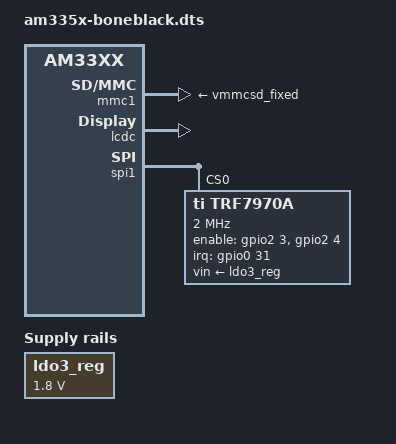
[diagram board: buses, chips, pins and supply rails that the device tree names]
/*
 * Copyright (C) 2012 Texas Instruments Incorporated - http://www.ti.com/
 *
 * This program is free software; you can redistribute it and/or modify
 * it under the terms of the GNU General Public License version 2 as
 * published by the Free Software Foundation.
 */
/dts-v1/;

#include "am33xx.dtsi"
#include "am335x-bone-common.dtsi"

&ldo3_reg {
	regulator-min-microvolt = <1800000>;
	regulator-max-microvolt = <1800000>;
	regulator-always-on;
};

&mmc1 {
	vmmc-supply = <&vmmcsd_fixed>;
};

&mmc2 {
	vmmc-supply = <&vmmcsd_fixed>;
	pinctrl-names = "default";
	pinctrl-0 = <&emmc_pins>;
	bus-width = <8>;
	status = "disabled";
	ti,vcc-aux-disable-is-sleep;
};

&am33xx_pinmux {
	nxp_hdmi_bonelt_pins: nxp_hdmi_bonelt_pins {
		pinctrl-single,pins = <
			0x1b0 0x03      /* xdma_event_intr0, OMAP_MUX_MODE3 | AM33XX_PIN_OUTPUT */
			0xa0 0x08       /* lcd_data0.lcd_data0, OMAP_MUX_MODE0 | AM33XX_PIN_OUTPUT | AM33XX_PULL_DISA */
			0xa4 0x08       /* lcd_data1.lcd_data1, OMAP_MUX_MODE0 | AM33XX_PIN_OUTPUT | AM33XX_PULL_DISA */
			0xa8 0x08       /* lcd_data2.lcd_data2, OMAP_MUX_MODE0 | AM33XX_PIN_OUTPUT | AM33XX_PULL_DISA */
			0xac 0x08       /* lcd_data3.lcd_data3, OMAP_MUX_MODE0 | AM33XX_PIN_OUTPUT | AM33XX_PULL_DISA */
			0xb0 0x08       /* lcd_data4.lcd_data4, OMAP_MUX_MODE0 | AM33XX_PIN_OUTPUT | AM33XX_PULL_DISA */
			0xb4 0x08       /* lcd_data5.lcd_data5, OMAP_MUX_MODE0 | AM33XX_PIN_OUTPUT | AM33XX_PULL_DISA */
			0xb8 0x08       /* lcd_data6.lcd_data6, OMAP_MUX_MODE0 | AM33XX_PIN_OUTPUT | AM33XX_PULL_DISA */
			0xbc 0x08       /* lcd_data7.lcd_data7, OMAP_MUX_MODE0 | AM33XX_PIN_OUTPUT | AM33XX_PULL_DISA */
			0xc0 0x08       /* lcd_data8.lcd_data8, OMAP_MUX_MODE0 | AM33XX_PIN_OUTPUT | AM33XX_PULL_DISA */
			0xc4 0x08       /* lcd_data9.lcd_data9, OMAP_MUX_MODE0 | AM33XX_PIN_OUTPUT | AM33XX_PULL_DISA */
			0xc8 0x08       /* lcd_data10.lcd_data10, OMAP_MUX_MODE0 | AM33XX_PIN_OUTPUT | AM33XX_PULL_DISA */
			0xcc 0x08       /* lcd_data11.lcd_data11, OMAP_MUX_MODE0 | AM33XX_PIN_OUTPUT | AM33XX_PULL_DISA */
			0xd0 0x08       /* lcd_data12.lcd_data12, OMAP_MUX_MODE0 | AM33XX_PIN_OUTPUT | AM33XX_PULL_DISA */
			0xd4 0x08       /* lcd_data13.lcd_data13, OMAP_MUX_MODE0 | AM33XX_PIN_OUTPUT | AM33XX_PULL_DISA */
			0xd8 0x08       /* lcd_data14.lcd_data14, OMAP_MUX_MODE0 | AM33XX_PIN_OUTPUT | AM33XX_PULL_DISA */
			0xdc 0x08       /* lcd_data15.lcd_data15, OMAP_MUX_MODE0 | AM33XX_PIN_OUTPUT | AM33XX_PULL_DISA */
			0xe0 0x00       /* lcd_vsync.lcd_vsync, OMAP_MUX_MODE0 | AM33XX_PIN_OUTPUT */
			0xe4 0x00       /* lcd_hsync.lcd_hsync, OMAP_MUX_MODE0 | AM33XX_PIN_OUTPUT */
			0xe8 0x00       /* lcd_pclk.lcd_pclk, OMAP_MUX_MODE0 | AM33XX_PIN_OUTPUT */
			0xec 0x00       /* lcd_ac_bias_en.lcd_ac_bias_en, OMAP_MUX_MODE0 | AM33XX_PIN_OUTPUT */
		>;
	};
	nxp_hdmi_bonelt_off_pins: nxp_hdmi_bonelt_off_pins {
		pinctrl-single,pins = <
			0x1b0 0x03      /* xdma_event_intr0, OMAP_MUX_MODE3 | AM33XX_PIN_OUTPUT */
		>;
	};
	trf7970a_default: trf7970a_pins {
		pinctrl-single,pins = <
			/* GPIOs for EM2 Connector on RF Cape (over USB) */
			/* gpio1_5 (SS Enable (EM2_SPI_ENA on RF Cape)) */
			0x14 (PIN_OUTPUT_PULLUP | MUX_MODE7)
			/* gpio2_3 (EN) */
			0x94 (PIN_OUTPUT_PULLDOWN | MUX_MODE7)
			/* gpio2_4 (EN2) */
			0x98 (PIN_OUTPUT_PULLDOWN | MUX_MODE7)
			/* gpio0_31 (IRQ) */
			0x74 (PIN_INPUT           | MUX_MODE7)

			/* SPI lines are made common on the RF Cape */
			0x190 (PIN_INPUT_PULLDOWN | MUX_MODE3) /* spi1_sclk */
			0x194 (PIN_INPUT_PULLUP   | MUX_MODE3) /* spi1_miso */
			0x198 (PIN_INPUT_PULLDOWN | MUX_MODE3) /* spi1_mosi */
			0x19c (PIN_INPUT_PULLUP   | MUX_MODE3) /* spi1_cs0 */
		>;
	};
};

&lcdc {
	status = "okay";
};

/ {
	hdmi {
		compatible = "ti,tilcdc,slave";
		i2c = <&i2c0>;
		pinctrl-names = "default", "off";
		pinctrl-0 = <&nxp_hdmi_bonelt_pins>;
		pinctrl-1 = <&nxp_hdmi_bonelt_off_pins>;
		status = "okay";
	};
};

&spi1 {
	status = "okay";

	trf7970a@0 {
		compatible = "ti,trf7970a";
		reg = <0>;
		pinctrl-names = "default";
		pinctrl-0 = <&trf7970a_default>;
		spi-max-frequency = <2000000>;

		/* EM1 RF Cape Connector (over enet) */
		/*
		interrupt-parent = <&gpio2>;
		interrupts = <14 0>;
		ti,enable-gpios = <&gpio2 2 GPIO_ACTIVE_HIGH>,
				  <&gpio2 5 GPIO_ACTIVE_HIGH>;
		*/

		/* EM2 RF Cape Connector (over USB) */
		interrupt-parent = <&gpio0>;
		interrupts = <31 0>;
		ti,enable-gpios = <&gpio2 3 GPIO_ACTIVE_HIGH>,
				  <&gpio2 4 GPIO_ACTIVE_HIGH>;

		vin-supply = <&ldo3_reg>;
		vin-voltage-override = <5000000>;
		autosuspend-delay = <30000>;
		irq-status-read-quirk;
		en2-rf-quirk;
		t5t-rmb-extra-byte-quirk;
		status = "okay";
	};
};
